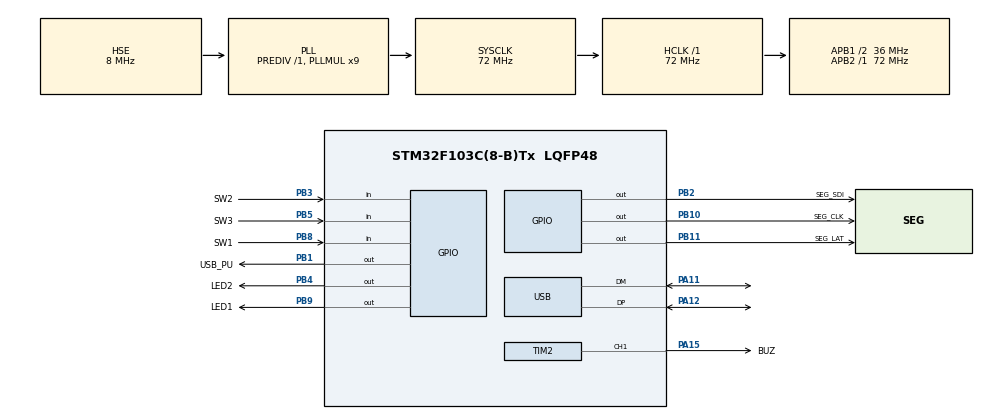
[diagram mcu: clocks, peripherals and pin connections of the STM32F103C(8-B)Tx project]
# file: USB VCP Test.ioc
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Mcu.Family=STM32F1
Mcu.Name=STM32F103C(8-B)Tx
Mcu.Package=LQFP48
NVIC.PriorityGroup=NVIC_PRIORITYGROUP_4
NVIC.USB_LP_CAN1_RX0_IRQn=true\:0\:0\:false\:false\:true\:false\:true
PA0-WKUP.GPIO_Label=POT1
PA0-WKUP.Signal=ADCx_IN0
PA1.GPIO_Label=POT2
PA1.Signal=ADCx_IN1
PA10.GPIO_Label=RGB_DI
PA10.Signal=S_TIM1_CH3
PA11.Mode=Device
PA11.Signal=USB_DM
PA12.Mode=Device
PA12.Signal=USB_DP
PA13.GPIO_Label=SWDIO
PA13.Mode=Serial_Wire
PA13.Signal=SYS_JTMS-SWDIO
PA14.GPIO_Label=SWCLK
PA14.Mode=Serial_Wire
PA14.Signal=SYS_JTCK-SWCLK
PA15.GPIO_Label=BUZ
PA15.Signal=S_TIM2_CH1_ETR
PA2.GPIO_Label=TX2
PA2.Signal=USART2_TX
PA3.GPIO_Label=RX2
PA3.Signal=USART2_RX
PA4.GPIO_Label=POT3
PA4.Signal=ADCx_IN4
PA5.GPIO_Label=TEMP
PA5.Signal=ADCx_IN5
PA6.GPIO_Label=PWM_R
PA6.Signal=S_TIM3_CH1
PA7.GPIO_Label=PWM_G
PA7.Signal=S_TIM3_CH2
PA8.GPIO_Label=PWM_P
PA8.Signal=S_TIM1_CH1
PB0.GPIO_Label=PWM_B
PB0.Signal=S_TIM3_CH3
PB1.GPIO_Label=USB_PU
PB1.GPIO_Speed=GPIO_SPEED_FREQ_HIGH
PB1.PinState=GPIO_PIN_RESET
PB1.Signal=GPIO_Output
PB10.GPIO_Label=SEG_CLK
PB10.GPIO_ModeDefaultOutputPP=GPIO_MODE_OUTPUT_OD
PB10.GPIO_PuPd=GPIO_NOPULL
PB10.GPIO_Speed=GPIO_SPEED_FREQ_HIGH
PB10.PinState=GPIO_PIN_RESET
PB10.Signal=GPIO_Output
PB11.GPIO_Label=SEG_LAT
PB11.GPIO_ModeDefaultOutputPP=GPIO_MODE_OUTPUT_OD
PB11.GPIO_PuPd=GPIO_NOPULL
PB11.GPIO_Speed=GPIO_SPEED_FREQ_HIGH
PB11.PinState=GPIO_PIN_RESET
PB11.Signal=GPIO_Output
PB13.GPIO_Label=PWM_N
PB13.Signal=TIM1_CH1N
PB2.GPIO_Label=SEG_SDI
PB2.GPIO_ModeDefaultOutputPP=GPIO_MODE_OUTPUT_OD
PB2.GPIO_PuPd=GPIO_NOPULL
PB2.GPIO_Speed=GPIO_SPEED_FREQ_HIGH
PB2.PinState=GPIO_PIN_RESET
PB2.Signal=GPIO_Output
PB3.GPIO_Label=SW2
PB3.Signal=GPIO_Input
PB4.GPIO_Label=LED2
PB4.GPIO_Speed=GPIO_SPEED_FREQ_HIGH
PB4.PinState=GPIO_PIN_RESET
PB4.Signal=GPIO_Output
PB5.GPIO_Label=SW3
PB5.Signal=GPIO_Input
PB6.GPIO_Label=ROT_A
PB6.Signal=S_TIM4_CH1
PB7.GPIO_Label=ROT_B
PB7.Signal=S_TIM4_CH2
PB8.GPIO_Label=SW1
PB8.Signal=GPIO_Input
PB9.GPIO_Label=LED1
PB9.GPIO_Speed=GPIO_SPEED_FREQ_HIGH
PB9.PinState=GPIO_PIN_RESET
PB9.Signal=GPIO_Output
PD0-OSC_IN.GPIO_Label=OSC_IN
PD0-OSC_IN.Mode=HSE-External-Oscillator
PD0-OSC_IN.Signal=RCC_OSC_IN
PD1-OSC_OUT.GPIO_Label=OSC_OUT
PD1-OSC_OUT.Mode=HSE-External-Oscillator
PD1-OSC_OUT.Signal=RCC_OSC_OUT
ProjectManager.HeapSize=0x200
ProjectManager.StackSize=0x400
ProjectManager.TargetToolchain=MDK-ARM V5.27
RCC.ADCPresc=RCC_ADCPCLK2_DIV6
RCC.AHBFreq_Value=72000000
RCC.APB1CLKDivider=RCC_HCLK_DIV2
RCC.APB1Freq_Value=36000000
RCC.APB1TimFreq_Value=72000000
RCC.APB2Freq_Value=72000000
RCC.APB2TimFreq_Value=72000000
RCC.HCLKFreq_Value=72000000
RCC.PLLMUL=RCC_PLL_MUL9
RCC.PLLSourceVirtual=RCC_PLLSOURCE_HSE
RCC.SYSCLKFreq_VALUE=72000000
RCC.SYSCLKSource=RCC_SYSCLKSOURCE_PLLCLK
RCC.USBFreq_Value=48000000
RCC.USBPrescaler=RCC_USBCLKSOURCE_PLL_DIV1_5
SH.ADCx_IN0.0=ADC1_IN0
SH.ADCx_IN1.0=ADC1_IN1
SH.ADCx_IN4.0=ADC1_IN4
SH.ADCx_IN5.0=ADC1_IN5
SH.S_TIM1_CH1.0=TIM1_CH1
SH.S_TIM1_CH3.0=TIM1_CH3
SH.S_TIM2_CH1_ETR.0=TIM2_CH1,PWM Generation1 CH1
SH.S_TIM3_CH1.0=TIM3_CH1
SH.S_TIM3_CH2.0=TIM3_CH2
SH.S_TIM3_CH3.0=TIM3_CH3
SH.S_TIM4_CH1.0=TIM4_CH1
SH.S_TIM4_CH2.0=TIM4_CH2
TIM2.Channel-PWM\ Generation1\ CH1=TIM_CHANNEL_1
TIM2.Period=500-1
TIM2.Prescaler=72-1
TIM2.Pulse-PWM\ Generation1\ CH1=250-1
USB_DEVICE.CLASS_NAME_FS=CDC
USB_DEVICE.VirtualMode=Cdc
USB_DEVICE.VirtualModeFS=Cdc_FS
VP_TIM2_VS_ClockSourceINT.Mode=Internal
VP_USB_DEVICE_VS_USB_DEVICE_CDC_FS.Mode=CDC_FS
board=custom

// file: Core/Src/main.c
/* USER CODE BEGIN Header */
/**
  ******************************************************************************
  * @file           : main.c
  * @brief          : Main program body
  ******************************************************************************
  * @attention
  *
  * Copyright (c) 2022 STMicroelectronics.
  * All rights reserved.
  *
  * This software is licensed under terms that can be found in the LICENSE file
  * in the root directory of this software component.
  * If no LICENSE file comes with this software, it is provided AS-IS.
  *
  ******************************************************************************
  */
/* USER CODE END Header */
#include "main.h"
#include "tim.h"
#include "usb_device.h"
#include "gpio.h"

/* USER CODE BEGIN Includes */
#include "usbd_cdc_if.h"
/* USER CODE END Includes */

void SystemClock_Config(void);

/* USER CODE BEGIN 0 */
volatile uint8_t toggle_f[3] = {0, 0, 0};
volatile uint8_t new_data_f = 0;
/* USER CODE END 0 */

int main(void)
{

  /* MCU Configuration--------------------------------------------------------*/

  /* Reset of all peripherals, Initializes the Flash interface and the Systick. */
  HAL_Init();

  /* Configure the system clock */
  SystemClock_Config();

  /* Initialize all configured peripherals */
  MX_GPIO_Init();
  MX_USB_DEVICE_Init();
  MX_TIM2_Init();
  /* USER CODE BEGIN 2 */

	HAL_GPIO_WritePin(USB_PU_GPIO_Port, USB_PU_Pin, GPIO_PIN_SET);

  /* USER CODE END 2 */

  /* Infinite loop */
  while (1)
  {

    /* USER CODE BEGIN 3 */
		HAL_GPIO_WritePin(LED1_GPIO_Port, LED1_Pin, toggle_f[0]);
		HAL_GPIO_WritePin(LED2_GPIO_Port, LED2_Pin, toggle_f[1]);
		if(toggle_f[2])
		{
			HAL_TIM_PWM_Start(&htim2, TIM_CHANNEL_1);
		}
		else
		{
			HAL_TIM_PWM_Stop(&htim2, TIM_CHANNEL_1);
		}
		if(new_data_f)
		{
			new_data_f = 0;
			char buf[40];
			sprintf(buf, "LED1: %d, LED2: %d, BUZ: %d\r\n", toggle_f[0], toggle_f[1], toggle_f[2]);
			CDC_Transmit_FS(buf,sizeof(buf));
		}
  }
  /* USER CODE END 3 */
}

void SystemClock_Config(void)
{
  RCC_OscInitTypeDef RCC_OscInitStruct = {0};
  RCC_ClkInitTypeDef RCC_ClkInitStruct = {0};
  RCC_PeriphCLKInitTypeDef PeriphClkInit = {0};

  /** Initializes the RCC Oscillators according to the specified parameters
  * in the RCC_OscInitTypeDef structure.
  */
  RCC_OscInitStruct.OscillatorType = RCC_OSCILLATORTYPE_HSE;
  RCC_OscInitStruct.HSEState = RCC_HSE_ON;
  RCC_OscInitStruct.HSEPredivValue = RCC_HSE_PREDIV_DIV1;
  RCC_OscInitStruct.HSIState = RCC_HSI_ON;
  RCC_OscInitStruct.PLL.PLLState = RCC_PLL_ON;
  RCC_OscInitStruct.PLL.PLLSource = RCC_PLLSOURCE_HSE;
  RCC_OscInitStruct.PLL.PLLMUL = RCC_PLL_MUL9;
  if (HAL_RCC_OscConfig(&RCC_OscInitStruct) != HAL_OK)
  {
    Error_Handler();
  }
  /** Initializes the CPU, AHB and APB buses clocks
  */
  RCC_ClkInitStruct.ClockType = RCC_CLOCKTYPE_HCLK|RCC_CLOCKTYPE_SYSCLK
                              |RCC_CLOCKTYPE_PCLK1|RCC_CLOCKTYPE_PCLK2;
  RCC_ClkInitStruct.SYSCLKSource = RCC_SYSCLKSOURCE_PLLCLK;
  RCC_ClkInitStruct.AHBCLKDivider = RCC_SYSCLK_DIV1;
  RCC_ClkInitStruct.APB1CLKDivider = RCC_HCLK_DIV2;
  RCC_ClkInitStruct.APB2CLKDivider = RCC_HCLK_DIV1;

  if (HAL_RCC_ClockConfig(&RCC_ClkInitStruct, FLASH_LATENCY_2) != HAL_OK)
  {
    Error_Handler();
  }
  PeriphClkInit.PeriphClockSelection = RCC_PERIPHCLK_USB;
  PeriphClkInit.UsbClockSelection = RCC_USBCLKSOURCE_PLL_DIV1_5;
  if (HAL_RCCEx_PeriphCLKConfig(&PeriphClkInit) != HAL_OK)
  {
    Error_Handler();
  }
}

void Error_Handler(void)
{
  __disable_irq();
  while (1)
  {
  }
}
